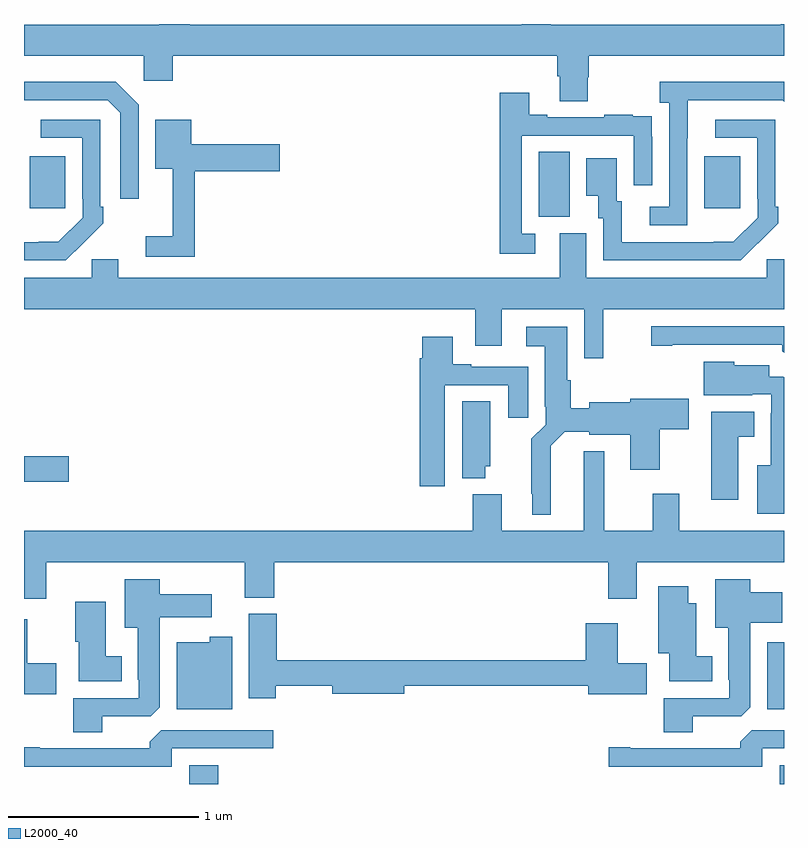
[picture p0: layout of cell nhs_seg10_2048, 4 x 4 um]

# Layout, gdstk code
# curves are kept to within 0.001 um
import gdstk
lib = gdstk.Library(unit=1e-6, precision=1e-09)
def R(c, l, rs):  # rectangles x0, y0, x1, y1
    for r in rs: c.add(gdstk.rectangle(r[:2], r[2:], *l))
def P(c, l, *ps):  # polygons
    for p in ps: c.add(gdstk.Polygon(p, *l))
L2000_40 = (2000, 40)

nhs_seg10_2048 = lib.new_cell('nhs_seg10_2048')
R(nhs_seg10_2048, L2000_40, [(219.869,1280.5,220.022,1280.599), (222.977,1280.5,223,1280.599), (222.911,1280.894,223,1281.247), (219,1282.091,219.235,1282.226), (221.708,1283.485,221.872,1283.828), (219.029,1283.529,219.217,1283.803), (222.581,1283.529,222.769,1283.803)])
P(nhs_seg10_2048, L2000_40, [(221.967,1284.219),(221.972,1284.219),(221.972,1284.332),(223,1284.332),(223,1284.5),(222.983,1284.5),(222.983,1284.496),(221.772,1284.496),(221.772,1284.5),(221.621,1284.5),(221.621,1284.496),(219.872,1284.496),(219.872,1284.5),(219.712,1284.5),(219.712,1284.496),(219,1284.496),(219,1284.332),(219.63,1284.332),(219.63,1284.201),(219.782,1284.201),(219.782,1284.332),(221.807,1284.332),(221.807,1284.226),(221.819,1284.226),(221.819,1284.094),(221.967,1284.094)],
  [(219.603,1284.075),(219.482,1284.196),(219,1284.196),(219,1284.099),(219.441,1284.099),(219.507,1284.033),(219.507,1283.58),(219.603,1283.58)],
  [(222.492,1283.899),(222.493,1284.099),(222.993,1284.099),(223,1284.092),(223,1284.196),(222.345,1284.196),(222.345,1284.086),(222.396,1284.086),(222.396,1283.538),(222.294,1283.538),(222.294,1283.442),(222.492,1283.442)],
  [(221.692,1283.397),(221.619,1283.397),(221.619,1283.913),(222.21,1283.913),(222.21,1283.652),(222.306,1283.652),(222.306,1283.906),(222.305,1283.906),(222.305,1284.015),(222.203,1284.015),(222.203,1284.022),(222.055,1284.022),(222.055,1284.009),(221.755,1284.009),(221.755,1284.022),(221.659,1284.022),(221.659,1284.139),(221.503,1284.139),(221.503,1283.292),(221.692,1283.292)],
  [(222.863,1283.347),(222.864,1283.346),(222.969,1283.451),(222.969,1283.539),(222.954,1283.539),(222.954,1283.997),(222.639,1283.997),(222.639,1283.901),(222.858,1283.901),(222.858,1283.581),(222.861,1283.581),(222.861,1283.481),(222.733,1283.353),(222.145,1283.352),(222.145,1283.568),(222.121,1283.568),(222.121,1283.794),(221.96,1283.794),(221.96,1283.597),(222.023,1283.597),(222.023,1283.478),(222.048,1283.478),(222.048,1283.256),(222.772,1283.256)],
  [(219.311,1283.347),(219.312,1283.346),(219.417,1283.451),(219.417,1283.539),(219.402,1283.539),(219.402,1283.997),(219.087,1283.997),(219.087,1283.901),(219.306,1283.901),(219.306,1283.581),(219.309,1283.581),(219.309,1283.481),(219.181,1283.353),(219,1283.352),(219,1283.256),(219.22,1283.256)],
  [(219.899,1283.726),(220.345,1283.726),(220.345,1283.868),(219.88,1283.868),(219.88,1283.995),(219.692,1283.995),(219.692,1283.738),(219.782,1283.738),(219.782,1283.383),(219.642,1283.383),(219.642,1283.274),(219.899,1283.274)],
  [(222.048,1283),(223,1283),(223,1283.262),(222.909,1283.262),(222.909,1283.164),(221.959,1283.164),(221.959,1283.4),(221.819,1283.4),(221.819,1283.164),(219.496,1283.164),(219.496,1283.262),(219.357,1283.262),(219.357,1283.164),(219,1283.164),(219,1283),(221.375,1283),(221.375,1282.806),(221.515,1282.806),(221.515,1283),(221.949,1283),(221.949,1282.74),(222.048,1282.74)],
  [(223,1282.908),(222.3,1282.908),(222.3,1282.807),(222.412,1282.807),(222.412,1282.812),(222.992,1282.812),(222.992,1282.778),(223,1282.77)],
  [(221.773,1282.28),(221.847,1282.355),(221.976,1282.355),(221.976,1282.337),(222.191,1282.337),(222.191,1282.155),(222.346,1282.155),(222.346,1282.366),(222.499,1282.366),(222.499,1282.528),(222.191,1282.528),(222.191,1282.508),(221.976,1282.508),(221.976,1282.477),(221.878,1282.477),(221.878,1282.626),(221.86,1282.626),(221.86,1282.906),(221.643,1282.906),(221.643,1282.805),(221.741,1282.805),(221.741,1282.486),(221.745,1282.486),(221.745,1282.392),(221.671,1282.318),(221.671,1282.027),(221.675,1282.027),(221.675,1281.917),(221.773,1281.917)],
  [(221.215,1282.599),(221.549,1282.599),(221.549,1282.428),(221.653,1282.428),(221.653,1282.695),(221.353,1282.695),(221.353,1282.708),(221.257,1282.708),(221.257,1282.855),(221.096,1282.855),(221.096,1282.742),(221.084,1282.742),(221.084,1282.068),(221.215,1282.068)],
  [(223,1282.64),(222.996,1282.644),(222.922,1282.644),(222.922,1282.705),(222.738,1282.705),(222.738,1282.723),(222.578,1282.723),(222.578,1282.547),(222.833,1282.547),(222.833,1282.551),(222.933,1282.551),(222.933,1282.451),(222.929,1282.451),(222.929,1282.177),(222.86,1282.177),(222.86,1281.923),(223,1281.923)],
  [(221.428,1282.173),(221.455,1282.173),(221.455,1282.514),(221.306,1282.514),(221.306,1282.109),(221.428,1282.109)],
  [(222.76,1282.328),(222.844,1282.328),(222.844,1282.459),(222.617,1282.459),(222.617,1281.996),(222.76,1281.996)],
  [(219.118,1281.668),(220.163,1281.668),(220.163,1281.481),(220.316,1281.481),(220.316,1281.668),(222.074,1281.668),(222.074,1281.474),(222.226,1281.474),(222.226,1281.668),(223,1281.668),(223,1281.832),(222.448,1281.832),(222.448,1282.027),(222.308,1282.027),(222.308,1281.832),(222.055,1281.832),(222.055,1282.145),(222.054,1282.145),(222.054,1282.252),(221.945,1282.252),(221.945,1281.832),(221.515,1281.832),(221.515,1282.024),(221.363,1282.024),(221.363,1281.832),(219,1281.832),(219,1281.474),(219.118,1281.474)],
  [(222.52,1280.856),(222.774,1280.856),(222.823,1280.905),(222.823,1281.35),(222.991,1281.35),(222.991,1281.508),(222.823,1281.508),(222.823,1281.577),(222.638,1281.577),(222.638,1281.323),(222.707,1281.323),(222.707,1281.049),(222.711,1281.049),(222.711,1280.952),(222.368,1280.952),(222.368,1280.773),(222.52,1280.773)],
  [(219.412,1280.856),(219.666,1280.856),(219.715,1280.905),(219.715,1281.377),(219.988,1281.377),(219.988,1281.499),(219.715,1281.499),(219.715,1281.577),(219.53,1281.577),(219.53,1281.323),(219.599,1281.323),(219.599,1281.049),(219.603,1281.049),(219.603,1280.952),(219.26,1280.952),(219.26,1280.773),(219.412,1280.773)],
  [(222.622,1281.172),(222.538,1281.172),(222.538,1281.451),(222.496,1281.451),(222.496,1281.541),(222.338,1281.541),(222.338,1281.188),(222.395,1281.188),(222.395,1281.041),(222.622,1281.041)],
  [(219.514,1281.172),(219.43,1281.172),(219.43,1281.46),(219.269,1281.46),(219.269,1281.249),(219.287,1281.249),(219.287,1281.041),(219.514,1281.041)],
  [(220.326,1281.016),(220.622,1281.016),(220.622,1280.974),(221.002,1280.974),(221.002,1281.016),(221.969,1281.016),(221.969,1280.972),(222.277,1280.972),(222.277,1281.135),(222.124,1281.135),(222.124,1281.346),(221.957,1281.346),(221.957,1281.152),(220.331,1281.152),(220.331,1281.396),(220.184,1281.396),(220.184,1280.952),(220.326,1280.952)],
  [(219.169,1281.135),(219.016,1281.135),(219.016,1281.367),(219,1281.367),(219,1280.972),(219.169,1280.972)],
  [(220.096,1281.274),(219.978,1281.274),(219.978,1281.247),(219.803,1281.247),(219.803,1280.894),(220.096,1280.894)],
  [(222.885,1280.688),(223,1280.688),(223,1280.784),(222.831,1280.784),(222.77,1280.722),(222.77,1280.688),(222.19,1280.688),(222.19,1280.693),(222.078,1280.693),(222.078,1280.592),(222.885,1280.592)],
  [(219.777,1280.688),(220.312,1280.688),(220.312,1280.784),(219.723,1280.784),(219.662,1280.722),(219.662,1280.688),(219.082,1280.688),(219.082,1280.693),(219,1280.693),(219,1280.592),(219.777,1280.592)])

lib.write_gds('nhs_seg10_2048.gds')
